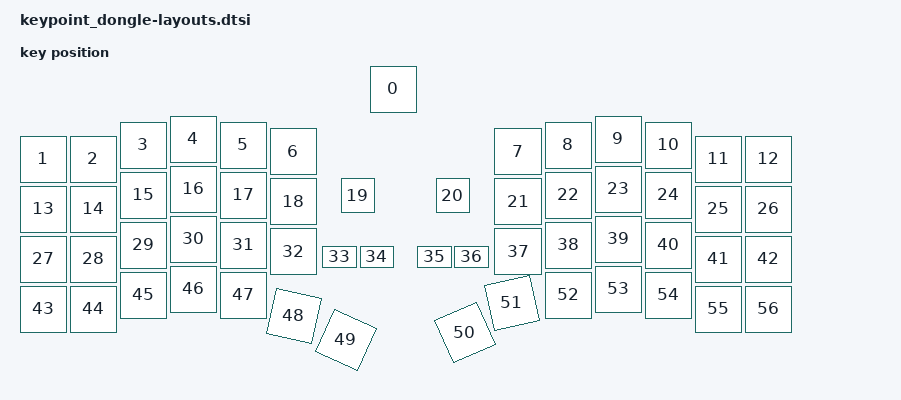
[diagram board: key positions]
#include <physical_layouts.dtsi>
#include <dt-bindings/zmk/matrix_transform.h>

/ {
    keypoint_dongle_layout: keypoint_dongle_layout {
        compatible = "zmk,physical-layout";
        display-name = "keypoint_dongle";

        kscan = <&kscan0>;
        transform = <&matrix_transform0>;

        keys  //                     w   h    x    y     rot    rx    ry
            = <&key_physical_attrs 100 100  700    0       0     0     0>
            , <&key_physical_attrs 100 100    0  140       0     0     0>
            , <&key_physical_attrs 100 100  100  140       0     0     0>
            , <&key_physical_attrs 100 100  200  112       0     0     0>
            , <&key_physical_attrs 100 100  300  100       0     0     0>
            , <&key_physical_attrs 100 100  400  112       0     0     0>
            , <&key_physical_attrs 100 100  500  125       0     0     0>
            , <&key_physical_attrs 100 100  950  125       0     0     0>
            , <&key_physical_attrs 100 100 1050  112       0     0     0>
            , <&key_physical_attrs 100 100 1150  100       0     0     0>
            , <&key_physical_attrs 100 100 1250  112       0     0     0>
            , <&key_physical_attrs 100 100 1350  140       0     0     0>
            , <&key_physical_attrs 100 100 1450  140       0     0     0>
            , <&key_physical_attrs 100 100    0  240       0     0     0>
            , <&key_physical_attrs 100 100  100  240       0     0     0>
            , <&key_physical_attrs 100 100  200  212       0     0     0>
            , <&key_physical_attrs 100 100  300  200       0     0     0>
            , <&key_physical_attrs 100 100  400  212       0     0     0>
            , <&key_physical_attrs 100 100  500  225       0     0     0>
            , <&key_physical_attrs  75  75  642  225       0     0     0>
            , <&key_physical_attrs  75  75  832  225       0     0     0>
            , <&key_physical_attrs 100 100  950  225       0     0     0>
            , <&key_physical_attrs 100 100 1050  212       0     0     0>
            , <&key_physical_attrs 100 100 1150  200       0     0     0>
            , <&key_physical_attrs 100 100 1250  212       0     0     0>
            , <&key_physical_attrs 100 100 1350  240       0     0     0>
            , <&key_physical_attrs 100 100 1450  240       0     0     0>
            , <&key_physical_attrs 100 100    0  340       0     0     0>
            , <&key_physical_attrs 100 100  100  340       0     0     0>
            , <&key_physical_attrs 100 100  200  312       0     0     0>
            , <&key_physical_attrs 100 100  300  300       0     0     0>
            , <&key_physical_attrs 100 100  400  312       0     0     0>
            , <&key_physical_attrs 100 100  500  325       0     0     0>
            , <&key_physical_attrs  75  50  605  360       0     0     0>
            , <&key_physical_attrs  75  50  680  360       0     0     0>
            , <&key_physical_attrs  75  50  795  360       0     0     0>
            , <&key_physical_attrs  75  50  870  360       0     0     0>
            , <&key_physical_attrs 100 100  950  325       0     0     0>
            , <&key_physical_attrs 100 100 1050  312       0     0     0>
            , <&key_physical_attrs 100 100 1150  300       0     0     0>
            , <&key_physical_attrs 100 100 1250  312       0     0     0>
            , <&key_physical_attrs 100 100 1350  340       0     0     0>
            , <&key_physical_attrs 100 100 1450  340       0     0     0>
            , <&key_physical_attrs 100 100    0  440       0     0     0>
            , <&key_physical_attrs 100 100  100  440       0     0     0>
            , <&key_physical_attrs 100 100  200  412       0     0     0>
            , <&key_physical_attrs 100 100  300  400       0     0     0>
            , <&key_physical_attrs 100 100  400  412       0     0     0>
            , <&key_physical_attrs 100 100  520  407    1193   335   393>
            , <&key_physical_attrs 100 100  602  367    2387   335   493>
            , <&key_physical_attrs 100 100  842  407 (-2387)  1082   493>
            , <&key_physical_attrs 100 100  922  407 (-1193)  1082   393>
            , <&key_physical_attrs 100 100 1050  412       0     0     0>
            , <&key_physical_attrs 100 100 1150  400       0     0     0>
            , <&key_physical_attrs 100 100 1250  412       0     0     0>
            , <&key_physical_attrs 100 100 1350  440       0     0     0>
            , <&key_physical_attrs 100 100 1450  440       0     0     0>
            ;
    };
};



